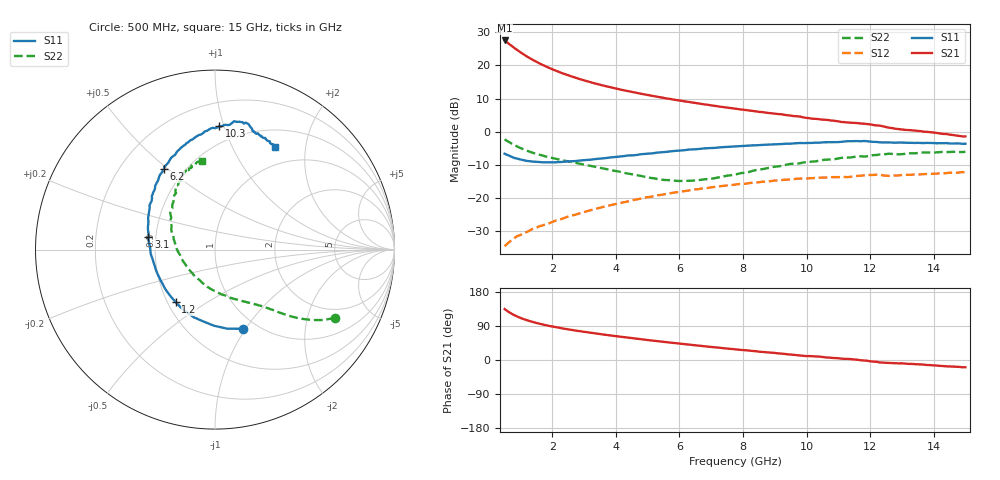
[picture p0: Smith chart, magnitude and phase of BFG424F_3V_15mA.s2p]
! Filename BFG424F_3V_15mA.prm
! Simulation_Values
! Created	by	janssen	on		nov	2006
!	Column ranking S11, S21,S12,S22 both magnitude and phase.
!	VCE	=	3	V,	IC	=	15	mA
!	Common	Emitter	S-Parameters
#	GHZ	S	MA	R	50
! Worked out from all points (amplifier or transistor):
!   146 points, 500 MHz to 15 GHz, reference 50 ohm
!   highest |S21| = 27.5 dB at 500 MHz (marker M1)
!   |S21| within 3 dB of that: start of sweep to 914.8 MHz
!   unconditionally stable (mu >= 1): 1.933 GHz to end of sweep
!   at 2.9 GHz: K = 1.12, MAG = 18.0 dB, |S12| = -24.4 dB
!   at 7.8 GHz: K = 1.15, MAG = 9.0 dB, |S12| = -15.8 dB
!   at 15 GHz: K = 1.42, MAG = 1.6 dB, |S12| = -12.2 dB
!   S11 on the Smith chart (normalised r, x): 500 MHz: 0.86, -0.97; 1.2 GHz: 0.55, -0.37; 3.1 GHz: 0.45, +0.08; 6.2 GHz: 0.39, +0.49; 10.3 GHz: 0.37, +0.96; 15 GHz: 0.73, +1.48
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0.5  0.468 -70.6  23.72 134.5  0.019 65.3  0.769 -29.7
0.6  0.446 -81.2  21.77 128.4  0.021 62.6  0.72 -33.0
0.7  0.424 -90.8  19.99 123.1  0.023 61.9  0.674 -35.6
0.8  0.405 -99.5  18.38 118.6  0.025 60.9  0.635 -37.7
0.9  0.395 -107.5  16.98 114.6  0.027 60.1  0.6 -39.5
1  0.383 -114.5  15.74 111.0  0.028 59.7  0.57 -41.0
1.2  0.365 -126.9  13.63 105.0  0.031 60.2  0.52 -43.4
1.5  0.353 -142.3  11.32 97.8  0.036 61.1  0.466 -46.2
1.7  0.348 -150.8  10.14 93.6  0.039 61.9  0.437 -48.1
1.9  0.348 -158.5  9.16 90.0  0.042 62.9  0.413 -50.0
2.4  0.356 -174.2  7.372 82.3  0.051 64.3  0.367 -55.1
3  0.375 171.3  5.951 74.4  0.062 65.2  0.322 -62.5
3.1  0.378 168.9  5.771 73.1  0.064 65.1  0.314 -64.1
3.6  0.398 158.9  4.972 67.3  0.074 65.0  0.282 -72.3
4.2  0.428 148.5  4.268 60.9  0.086 64.2  0.245 -84.2
5.4  0.491 132.0  3.315 48.8  0.112 60.5  0.191 -116.1
6.2  0.532 122.3  2.854 41.4  0.129 57.4  0.183 -144.1
7.8  0.605 106.8  2.219 28.0  0.162 50.4  0.23 168.7
10.2  0.682 88.5  1.573 9.8  0.201 38.0  0.357 130.4
10.3  0.687 88.0  1.565 9.2  0.202 37.9  0.36 129.9
12.6  0.693 71.6  1.151 -7.8  0.217 27.1  0.468 109.9
15  0.661 59.7  0.853 -19.2  0.246 18.9  0.5 98.6
